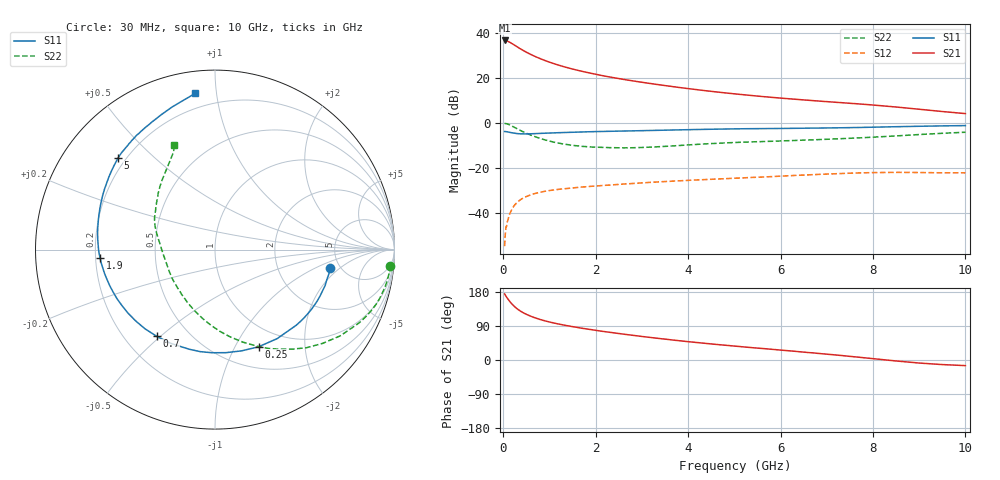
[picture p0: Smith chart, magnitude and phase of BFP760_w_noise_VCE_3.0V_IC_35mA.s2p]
! Infineon Technologies  Discrete & RF Semiconductors
! BFP760
! VCE =  3.0 V,  IC =  35 mA
! Common Emitter S-Parameters:  Nov 2012
# GHz  S  MA  R  50
!  f  S11  S21  S12  S22
! GHz  MAG  ANG  MAG  ANG  MAG  ANG  MAG  ANG
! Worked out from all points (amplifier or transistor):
!   99 points, 30 MHz to 10 GHz, reference 50 ohm
!   highest |S21| = 36.8 dB at 30 MHz (marker M1)
!   |S21| within 3 dB of that: start of sweep to 314.2 MHz
!   unconditionally stable (mu >= 1): 4.071 GHz to end of sweep
!   at 350 MHz: K = 0.30, MSG = 33.9 dB, |S12| = -34.5 dB
!   at 3.5 GHz: K = 0.95, MSG = 21.4 dB, |S12| = -26.1 dB
!   at 10 GHz: K = 1.06, MAG = 11.7 dB, |S12| = -22.2 dB
!   lowest NFmin = 0.83 dB at 900 MHz
!   S11 on the Smith chart (normalised r, x): 30 MHz: 4.13, -1.47; 250 MHz: 0.75, -1.25; 700 MHz: 0.33, -0.49; 1.9 GHz: 0.22, -0.03; 5 GHz: 0.17, +0.39; 10 GHz: 0.11, +0.88
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0.03  0.6481 -9.2  69.56 174.3  0.0018 84.4  0.9795 -5.2
0.07  0.6417 -21.0  68.51 166.4  0.0049 82.1  0.9685 -12.9
0.13  0.625 -37.7  64.21 156.3  0.0089 73.5  0.9205 -23.8
0.15  0.6184 -43.0  62.66 153.2  0.0099 73.2  0.8998 -27.1
0.2  0.6049 -55.1  58.38 146.3  0.0127 67.9  0.847 -34.6
0.25  0.5934 -65.8  54.27 140.4  0.015 63.5  0.795 -41.1
0.35  0.5775 -83.9  46.67 130.9  0.0188 57.7  0.702 -52.2
0.45  0.5744 -98.2  40.63 123.6  0.0217 52.6  0.6269 -61.5
0.6  0.5776 -115.2  33.76 115.3  0.0253 47.2  0.5382 -73.3
0.7  0.5822 -124.0  30.24 110.8  0.0271 44.8  0.4925 -80.3
0.9  0.5943 -138.1  24.91 103.4  0.0301 40.8  0.4228 -92.9
1.1  0.6049 -148.9  21.07 97.5  0.0323 38.3  0.3749 -104.0
1.4  0.6199 -161.0  17.06 90.2  0.0349 36.1  0.3302 -118.1
1.7  0.6333 -170.5  14.3 83.9  0.0375 34.9  0.303 -130.6
1.9  0.6419 -175.8  12.88 80.2  0.0389 34.3  0.2931 -138.2
2.6  0.6647 169.2  9.437 68.3  0.0437 33.2  0.2808 -160.5
3.4  0.6913 155.6  7.089 56.4  0.0491 31.9  0.2986 179.1
5  0.7425 136.8  4.49 36.8  0.0589 28.9  0.3685 155.8
5.1  0.7448 135.9  4.385 35.7  0.0594 28.7  0.3722 154.8
6.7  0.7726 124.2  3.169 18.8  0.0709 24.3  0.4238 139.7
8.5  0.8299 106.7  2.282 -2.6  0.0796 13.5  0.517 122.0
10  0.8791 97.1  1.627 -14.8  0.0777 8.7  0.6247 111.3
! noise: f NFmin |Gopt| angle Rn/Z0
0.9  0.83  0.2  -166  0.09
1.8  0.88  0.21  -158  0.07
2.4  0.92  0.22  -148  0.08
3.5  1.04  0.22  -138  0.13
5.5  1.28  0.29  -90  0.41
8  1.54  0.41  -68  0.48
